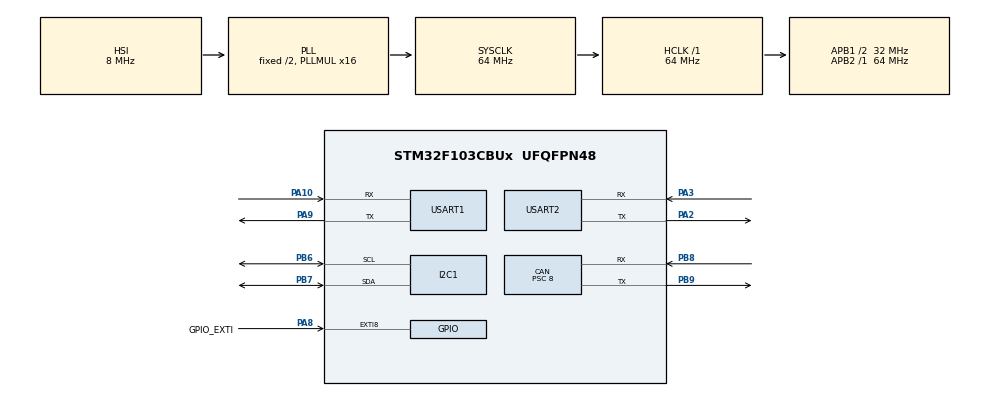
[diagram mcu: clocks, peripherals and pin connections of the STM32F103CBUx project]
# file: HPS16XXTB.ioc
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CAN.ABOM=ENABLE
CAN.BS1=CAN_BS1_2TQ
CAN.CalculateTimeBit=750
CAN.CalculateTimeQuantum=250.0
CAN.Mode=CAN_MODE_NORMAL
CAN.NART=ENABLE
CAN.Prescaler=8
I2C1.I2C_Mode=I2C_Fast
Mcu.Family=STM32F1
Mcu.Name=STM32F103CBUx
Mcu.Package=UFQFPN48
NVIC.CAN1_RX1_IRQn=true\:2\:0\:true\:false\:true\:true
NVIC.EXTI9_5_IRQn=true\:4\:0\:true\:false\:true\:true
NVIC.PriorityGroup=NVIC_PRIORITYGROUP_4
NVIC.TIM2_IRQn=true\:5\:0\:true\:false\:true\:true
NVIC.USART2_IRQn=true\:4\:0\:true\:false\:true\:true
NVIC.USB_LP_CAN1_RX0_IRQn=true\:1\:0\:true\:false\:true\:true
PA0-WKUP.Mode=SYS_WakeUp0
PA0-WKUP.Signal=SYS_WKUP
PA10.Mode=Asynchronous
PA10.Signal=USART1_RX
PA13.Mode=Serial_Wire
PA13.Signal=SYS_JTMS-SWDIO
PA14.Mode=Serial_Wire
PA14.Signal=SYS_JTCK-SWCLK
PA2.Mode=Asynchronous
PA2.Signal=USART2_TX
PA3.Mode=Asynchronous
PA3.Signal=USART2_RX
PA8.GPIO_Label=GPIO_EXTI
PA8.GPIO_ModeDefaultEXTI=GPIO_MODE_IT_FALLING
PA8.Signal=GPXTI8
PA9.Mode=Asynchronous
PA9.Signal=USART1_TX
PB6.Mode=I2C
PB6.Signal=I2C1_SCL
PB7.Mode=I2C
PB7.Signal=I2C1_SDA
PB8.Mode=Master
PB8.Signal=CAN_RX
PB9.Mode=Master
PB9.Signal=CAN_TX
ProjectManager.HeapSize=0x200
ProjectManager.StackSize=0x400
ProjectManager.TargetToolchain=MDK-ARM V5
RCC.AHBFreq_Value=64000000
RCC.APB1CLKDivider=RCC_HCLK_DIV2
RCC.APB1Freq_Value=32000000
RCC.APB1TimFreq_Value=64000000
RCC.APB2Freq_Value=64000000
RCC.APB2TimFreq_Value=64000000
RCC.HCLKFreq_Value=64000000
RCC.PLLMUL=RCC_PLL_MUL16
RCC.SYSCLKFreq_VALUE=64000000
RCC.SYSCLKSource=RCC_SYSCLKSOURCE_PLLCLK
RCC.USBFreq_Value=64000000
TIM2.AutoReloadPreload=TIM_AUTORELOAD_PRELOAD_ENABLE
TIM2.Period=50000
TIM2.Prescaler=63
USART1.VirtualMode=VM_ASYNC
USART2.VirtualMode=VM_ASYNC
VP_TIM2_VS_ClockSourceINT.Mode=Internal
board=HPS16XXTB

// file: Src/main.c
/**
  ******************************************************************************
  * File Name          : main.c
  * Description        : Main program body
  ******************************************************************************
  ** This notice applies to any and all portions of this file
  * that are not between comment pairs USER CODE BEGIN and
  * USER CODE END. Other portions of this file, whether
  * inserted by the user or by software development tools
  * are owned by their respective copyright owners.
  *
  * COPYRIGHT(c) 2018 STMicroelectronics
  *
  * Redistribution and use in source and binary forms, with or without modification,
  * are permitted provided that the following conditions are met:
  *   1. Redistributions of source code must retain the above copyright notice,
  *      this list of conditions and the following disclaimer.
  *   2. Redistributions in binary form must reproduce the above copyright notice,
  *      this list of conditions and the following disclaimer in the documentation
  *      and/or other materials provided with the distribution.
  *   3. Neither the name of STMicroelectronics nor the names of its contributors
  *      may be used to endorse or promote products derived from this software
  *      without specific prior written permission.
  *
  * THIS SOFTWARE IS PROVIDED BY THE COPYRIGHT HOLDERS AND CONTRIBUTORS "AS IS"
  * AND ANY EXPRESS OR IMPLIED WARRANTIES, INCLUDING, BUT NOT LIMITED TO, THE
  * IMPLIED WARRANTIES OF MERCHANTABILITY AND FITNESS FOR A PARTICULAR PURPOSE ARE
  * DISCLAIMED. IN NO EVENT SHALL THE COPYRIGHT HOLDER OR CONTRIBUTORS BE LIABLE
  * FOR ANY DIRECT, INDIRECT, INCIDENTAL, SPECIAL, EXEMPLARY, OR CONSEQUENTIAL
  * DAMAGES (INCLUDING, BUT NOT LIMITED TO, PROCUREMENT OF SUBSTITUTE GOODS OR
  * SERVICES; LOSS OF USE, DATA, OR PROFITS; OR BUSINESS INTERRUPTION) HOWEVER
  * CAUSED AND ON ANY THEORY OF LIABILITY, WHETHER IN CONTRACT, STRICT LIABILITY,
  * OR TORT (INCLUDING NEGLIGENCE OR OTHERWISE) ARISING IN ANY WAY OUT OF THE USE
  * OF THIS SOFTWARE, EVEN IF ADVISED OF THE POSSIBILITY OF SUCH DAMAGE.
  *
  ******************************************************************************
  */

#include "main.h"
#include "stm32f1xx_hal.h"
#include "can.h"
#include "i2c.h"
#include "tim.h"
#include "usart.h"
#include "gpio.h"

/* USER CODE BEGIN Includes */
#include "oled.h"
#include "sensor.h"
#include "util.h"
#include <stdbool.h>
/* USER CODE END Includes */

/* USER CODE BEGIN PV */
/* Private variables ---------------------------------------------------------*/
  uint8_t sensorID_CAN = 0x00;
	CanTxMsgTypeDef        TxMessage;
	CanRxMsgTypeDef        RxMessage;

	volatile uint16_t dist = 0x0000;
	volatile uint32_t mag = 0x00000000;
	volatile uint8_t ambient = 0x00;
	volatile bool uart2_rx_done = false;
	volatile uint8_t buff[32] ={0};
	volatile char dev[6] = {0}; //当前的设备信息

const uint32_t MY_EXTID = (0x10310000);
const uint16_t MY_STDID = (0x731);

	#define		UART2_FOR_CAN_OUT		0		//将CAN的数据通过uart2输出
/* USER CODE END PV */

void SystemClock_Config(void);

/* USER CODE BEGIN PFP */
/* Private function prototypes -----------------------------------------------*/

/* USER CODE END PFP */

/* USER CODE BEGIN 0 */

void HAL_UART_RxCpltCallback(UART_HandleTypeDef *huart)
{
	if(huart == (&huart2))
	{
		uart2_rx_done = true;
	}
	//HAL_GPIO_WritePin(TEST_GPIO_Port, TEST_Pin, GPIO_PIN_SET);

}

void HAL_UART_ErrorCallback(UART_HandleTypeDef *huart)
{
	if(huart == (&huart2))
	{
		//如果UART2发生了错误中断,中断接收会被打断，所以要让主循环的等待退出
		uart2_rx_done = true;
	}
}

/**
  * @brief  Error CAN callback.
  * @param  hcan: pointer to a CAN_HandleTypeDef structure that contains
  *         the configuration information for the specified CAN.
  * @retval None
  */
void HAL_CAN_ErrorCallback(CAN_HandleTypeDef *hcan)
{
	hcan->Instance->TSR = (CAN_TSR_TME0 | CAN_TSR_TME1 | CAN_TSR_TME2);//????????
	hcan->Instance->IER = 0;        //清除全部中断
	hcan->Instance->ESR = 0;        //清除错误计数
	HAL_CAN_MspDeInit(hcan);
	HAL_CAN_MspInit(hcan);
	//准备接收下一帧
	if(HAL_OK != HAL_CAN_Receive_IT(hcan, CAN_FIFO0))
	{
		//uart2_write("init can filter failed\n", 23);
	}
}

void HAL_GPIO_EXTI_Callback(uint16_t GPIO_Pin)
{
	uint8_t buff[64] = {0};
	uint8_t data_buff[32] = {0};
	uint16_t crc = 0x0000;
	uint16_t crc_p = 0x00000;
	uint16_t mag_i = 0x0000;
	uint8_t mag_exp = 0x00;
	if(GPIO_Pin == GPIO_EXTI_Pin)
	{
			//HAL_UART_Receive_IT(&huart2 ,buff, 15);
			uart1_read(buff, 2, 2);//读取报头信息
			if(buff[0] == 0x0a && buff[1] == 0x0d)
			{
				uart1_read(buff+2, buff[1], 2);
				if(packet_parser(buff, data_buff) == 1)
				{
					 dist = (data_buff[3]<<8)+data_buff[4];
					 mag_i = (data_buff[5] <<8) + data_buff[6];
					 mag_exp = data_buff[7];
					 mag = ((uint32_t)mag_i)<<(mag_exp);
					 ambient = data_buff[8];

					 dev[0] = 'U';
					 dev[1] = 'A';
					 dev[2] = 'R';
					 dev[3] = 'T';
					 dev[4] = '1';
					 dev[5] = 0;

				}

			}
			else
			{
				HAL_UART_Abort(&huart1);
				uart1_read(buff, 15, 5);
			}
	}
}

/**
  * @brief  Period elapsed callback in non blocking mode
  * @param  htim : TIM handle
  * @retval None
  */
void HAL_TIM_PeriodElapsedCallback(TIM_HandleTypeDef *htim)
{
	char disp_buff[32] = {0};
	sprintf(disp_buff, "%s", dev);
	OLED_ShowString(86,0,(uint8_t *)disp_buff,0);
	sprintf(disp_buff, "%.3f", dist/1000.0f);
	OLED_ShowString(40,1, (uint8_t *)disp_buff,0);
	sprintf(disp_buff, "%.3f", mag/10000.0f);
	OLED_ShowString(40,2,(uint8_t *)disp_buff,0);
	/*sprintf(disp_buff, "%.1f  %s", (float)ambient, dev);
	OLED_ShowString(48,3,(uint8_t *)disp_buff,0);*/
}

void HAL_CAN_RxCpltCallback(CAN_HandleTypeDef* hcan)
{
	uint16_t mag_i = 0x0000;
	uint8_t mag_exp = 0x00;
	uint8_t buff[32] = {0};
	char str_buff[32] = {0};
	for(int i=0; i<hcan->pRxMsg->DLC; i++)
	{
		buff[i] = hcan->pRxMsg->Data[i];
	}

	if((buff[0]&0xf0) == (sensorID_CAN&0xf0))//通用版CAN协议
	{
		if(buff[1] == 0x24 && (buff[0] & 0xf) == 0)//连续测量数据包并且是第一个数据包
		{
			//接收第2个数据包
				if(HAL_OK == HAL_CAN_Receive(hcan, CAN_FIFO0, 100))
				{
						for(int i=8; i<8+hcan->pRxMsg->DLC; i++)
						{
							buff[i] = hcan->pRxMsg->Data[i-8];
						}

						if(buff[9] == 0x24 && (buff[8] & 0xf) == 1)//连续测量数据包并且是第2个数据包
						{
							 dist = (buff[3]<<8)+buff[4];
							 mag_i = (buff[5] <<8) + buff[6];
							 mag_exp = buff[7];
							 mag = ((uint32_t)mag_i)<<(mag_exp);
							 ambient = buff[11];

							 dev[0] = 'G';
							 dev[1] = 'C';
							 dev[2] = 0;
							 dev[3] = 0;
							 dev[4] = 0;
						}
				}
		}
		else if(buff[1] == 0xfe)//can version
		{
			sprintf(str_buff, "V%d.%d%d", buff[3], buff[4], buff[5]);
			OLED_ShowString(40,0, (uint8_t *)str_buff,0);
		}
		else if(buff[1] == 0x2e)//ToF version
		{
				if(((hcan->pRxMsg->Data[0] & 0x0f) == 3) && (hcan->pRxMsg->Data[1] == 0x2e))
				{
					buff[0] = hcan->pRxMsg->Data[5];
					buff[1] = hcan->pRxMsg->Data[6];
					buff[2] = hcan->pRxMsg->Data[7];
				}

				if(((hcan->pRxMsg->Data[0] & 0x0f) == 4) && (hcan->pRxMsg->Data[1] == 0x2e))
				{
					buff[3] = hcan->pRxMsg->Data[3];
					buff[4] = hcan->pRxMsg->Data[4];
					sprintf(str_buff, "20%d-%d-%d V%d.%d", buff[0], buff[1], buff[2], buff[3], buff[4]);
					OLED_ShowString(0,3, (uint8_t *)str_buff,0);
				}

		}
	}

	//准备接收下一帧
	if(HAL_OK != HAL_CAN_Receive_IT(hcan, CAN_FIFO0))
	{

	}

}

/* USER CODE END 0 */

int main(void)
{

  /* USER CODE BEGIN 1 */
	CAN_FilterConfTypeDef sFilterConfig;
	uint16_t mag_i = 0;
	uint8_t mag_exp = 0;
	uint8_t data_buff[32] = {0};
	char str_buff[32] = {0};
  /* USER CODE END 1 */

  /* MCU Configuration----------------------------------------------------------*/

  /* Reset of all peripherals, Initializes the Flash interface and the Systick. */
  HAL_Init();

  /* Configure the system clock */
  SystemClock_Config();

  /* Initialize all configured peripherals */
  MX_GPIO_Init();
  MX_I2C1_Init();
  MX_CAN_Init();
  MX_USART1_UART_Init();
  MX_USART2_UART_Init();
  MX_TIM2_Init();

  /* USER CODE BEGIN 2 */
	hcan.pRxMsg = &RxMessage;
	hcan.pTxMsg = &TxMessage;
			//初始化CAN Filter
	sFilterConfig.FilterIdHigh = 0;
	sFilterConfig.FilterIdLow = 0;
	sFilterConfig.FilterMaskIdHigh = 0;
	sFilterConfig.FilterMaskIdLow = 0;
	sFilterConfig.FilterFIFOAssignment = CAN_FILTER_FIFO0;
	sFilterConfig.FilterNumber = 1;
	sFilterConfig.FilterMode = CAN_FILTERMODE_IDMASK;
	sFilterConfig.FilterScale = CAN_FILTERSCALE_32BIT;
	sFilterConfig.FilterActivation = ENABLE;
	sFilterConfig.BankNumber = 1;

	if(HAL_OK != HAL_CAN_ConfigFilter(&hcan, &sFilterConfig))
	{
		//uart2_write("init can filter failed\n", 23);
	}

	if(HAL_OK != HAL_CAN_WakeUp(&hcan))
	{
		//uart2_write("init can filter failed\n", 23);
	}
	HAL_TIM_Base_Stop_IT(&htim2);
	HAL_Delay(500);//等待传感器初始化完成
	OLED_Init();			//???OLED
	OLED_ShowString(0,0,"CVER:",0);//small front
	OLED_ShowString(0,1,"DIST:",0);
	OLED_ShowString(0,2,"MAGN:",0);
	//OLED_ShowString(0,3,"TVER:",0);

	//获取CAN 传感器ID号
	hcan.pTxMsg->StdId = 0x731 & 0x7ff;//
	hcan.pTxMsg->IDE = CAN_ID_STD;//
	hcan.pTxMsg->RTR = CAN_RTR_DATA;
	hcan.pTxMsg->DLC = 8;
	hcan.pTxMsg->Data[0] = 0xf0;;
	hcan.pTxMsg->Data[1] = 0xff;
	hcan.pTxMsg->Data[2] = 0x00;
	hcan.pTxMsg->Data[3] = 0xb0;
	HAL_CAN_Transmit(&hcan, 100);
	if(HAL_OK == HAL_CAN_Receive(&hcan, CAN_FIFO0, 300))
	{
		sensorID_CAN = hcan.pRxMsg->Data[0] & 0xf0;//传感器ID号
		//启动CAN中断接收数据
		if(HAL_OK != HAL_CAN_Receive_IT(&hcan, CAN_FIFO0))
		{
			//uart2_write("init can filter failed\n", 23);
		}
		//CAN固件版本
		hcan.pTxMsg->StdId = 0x731 & 0x7ff;//
		hcan.pTxMsg->IDE = CAN_ID_STD;//
		hcan.pTxMsg->RTR = CAN_RTR_DATA;
		hcan.pTxMsg->DLC = 8;
		hcan.pTxMsg->Data[0] = sensorID_CAN | 0x0;;
		hcan.pTxMsg->Data[1] = 0xfe;
		HAL_CAN_Transmit(&hcan, 100);

		//ToF固件信息
		hcan.pTxMsg->StdId = 0x731 & 0x7ff;//
		hcan.pTxMsg->IDE = CAN_ID_STD;//
		hcan.pTxMsg->RTR = CAN_RTR_DATA;
		hcan.pTxMsg->DLC = 8;
		hcan.pTxMsg->Data[0] = sensorID_CAN | 0x0;;
		hcan.pTxMsg->Data[1] = 0x2e;
		HAL_CAN_Transmit(&hcan, 100);

		//韦嘉CAN协议需要发送特定命令打开附件数据输出，方便调试
		hcan.pTxMsg->StdId = 0x731 & 0x7ff;//
		hcan.pTxMsg->IDE = CAN_ID_STD;//
		hcan.pTxMsg->RTR = CAN_RTR_DATA;
		hcan.pTxMsg->DLC = 8;
		hcan.pTxMsg->Data[0] = sensorID_CAN | 0x0;;
		hcan.pTxMsg->Data[1] = 0xf7;
		hcan.pTxMsg->Data[2] = 0xf5;
		hcan.pTxMsg->Data[3] = 0x1;
		HAL_CAN_Transmit(&hcan, 100);

		//开启连续输出模式
		hcan.pTxMsg->StdId = 0x731 & 0x7ff;//
		hcan.pTxMsg->IDE = CAN_ID_STD;//
		hcan.pTxMsg->RTR = CAN_RTR_DATA;
		hcan.pTxMsg->DLC = 8;
		hcan.pTxMsg->Data[0] = sensorID_CAN | 0x0;
		hcan.pTxMsg->Data[1] = 0x24;
		HAL_CAN_Transmit(&hcan, 100);

	}
	else
	{
		//启动CAN中断接收数据
		if(HAL_OK != HAL_CAN_Receive_IT(&hcan, CAN_FIFO0))
		{
			//uart2_write("init can filter failed\n", 23);
		}
	}

	//打开UART1和UART2的传感器连续输出模式
	continuous_Stop(USE_UART1);
	uart1_read(buff, 8, 200);//可能会有启动信息(Hypersen)，要滤掉
	if(sensor_get_DeviceInfo(buff, 	USE_UART1) == 1)
	{
		sprintf(str_buff, "20%d-%d-%d V%d.%d", buff[17], buff[18], buff[19], buff[20], buff[21]);
		OLED_ShowString(0,3, (uint8_t *)str_buff,0);
	}
	HAL_Delay(100);
	sensor_continuous_start(USE_UART1);

#if !UART2_FOR_CAN_OUT
	continuous_Stop(USE_UART2);
	uart2_read(buff, 8, 200);	//可能会有启动信息(Hypersen)，要滤掉
	if(sensor_get_DeviceInfo(buff, 	USE_UART2) == 1)
	{
		sprintf(str_buff, "20%d-%d-%d V%d.%d", buff[17], buff[18], buff[19], buff[20], buff[21]);
		OLED_ShowString(0,3, (uint8_t *)str_buff,0);
	}
	sensor_continuous_start(USE_UART2);

#endif
	HAL_TIM_Base_Start_IT(&htim2);

  /* USER CODE END 2 */

  /* Infinite loop */
  while (1)
  {

	}

}

/** System Clock Configuration
*/
void SystemClock_Config(void)
{

  RCC_OscInitTypeDef RCC_OscInitStruct;
  RCC_ClkInitTypeDef RCC_ClkInitStruct;

    /**Initializes the CPU, AHB and APB busses clocks
    */
  RCC_OscInitStruct.OscillatorType = RCC_OSCILLATORTYPE_HSI;
  RCC_OscInitStruct.HSIState = RCC_HSI_ON;
  RCC_OscInitStruct.HSICalibrationValue = 16;
  RCC_OscInitStruct.PLL.PLLState = RCC_PLL_ON;
  RCC_OscInitStruct.PLL.PLLSource = RCC_PLLSOURCE_HSI_DIV2;
  RCC_OscInitStruct.PLL.PLLMUL = RCC_PLL_MUL16;
  if (HAL_RCC_OscConfig(&RCC_OscInitStruct) != HAL_OK)
  {
    _Error_Handler(__FILE__, __LINE__);
  }

    /**Initializes the CPU, AHB and APB busses clocks
    */
  RCC_ClkInitStruct.ClockType = RCC_CLOCKTYPE_HCLK|RCC_CLOCKTYPE_SYSCLK
                              |RCC_CLOCKTYPE_PCLK1|RCC_CLOCKTYPE_PCLK2;
  RCC_ClkInitStruct.SYSCLKSource = RCC_SYSCLKSOURCE_PLLCLK;
  RCC_ClkInitStruct.AHBCLKDivider = RCC_SYSCLK_DIV1;
  RCC_ClkInitStruct.APB1CLKDivider = RCC_HCLK_DIV2;
  RCC_ClkInitStruct.APB2CLKDivider = RCC_HCLK_DIV1;

  if (HAL_RCC_ClockConfig(&RCC_ClkInitStruct, FLASH_LATENCY_2) != HAL_OK)
  {
    _Error_Handler(__FILE__, __LINE__);
  }

    /**Configure the Systick interrupt time
    */
  HAL_SYSTICK_Config(HAL_RCC_GetHCLKFreq()/1000);

    /**Configure the Systick
    */
  HAL_SYSTICK_CLKSourceConfig(SYSTICK_CLKSOURCE_HCLK);

  /* SysTick_IRQn interrupt configuration */
  HAL_NVIC_SetPriority(SysTick_IRQn, 0, 0);
}

void _Error_Handler(char * file, int line)
{
  while(1)
  {
  }
}

/************************ (C) COPYRIGHT STMicroelectronics *****END OF FILE****/
